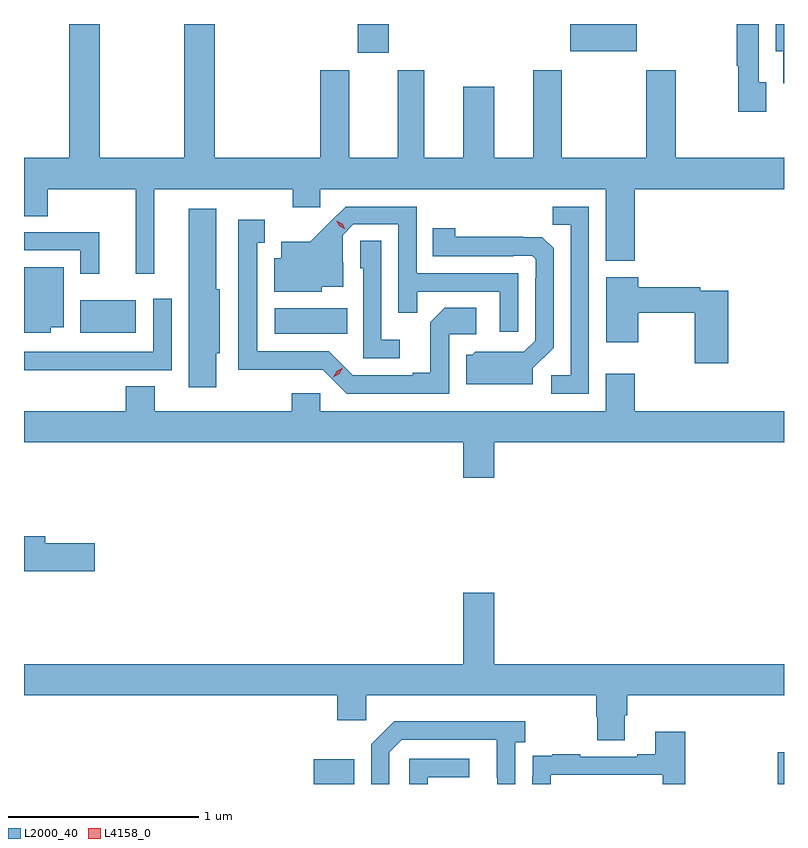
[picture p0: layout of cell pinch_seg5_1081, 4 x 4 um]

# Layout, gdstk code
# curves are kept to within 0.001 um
import gdstk
lib = gdstk.Library(unit=1e-6, precision=1e-09)
def R(c, l, rs):  # rectangles x0, y0, x1, y1
    for r in rs: c.add(gdstk.rectangle(r[:2], r[2:], *l))
def P(c, l, *ps):  # polygons
    for p in ps: c.add(gdstk.Polygon(p, *l))
L2000_40 = (2000, 40)
L4158_0 = (4158, 0)

pinch_seg5_1081 = lib.new_cell('pinch_seg5_1081')
R(pinch_seg5_1081, L2000_40, [(763.622,841.641,763.834,841.771), (766.064,841.641,766.096,841.807), (763.416,844.01,763.796,844.144), (762.392,844.016,762.685,844.186), (763.853,845.49,764.017,845.641), (764.972,845.498,765.322,845.641)])
P(pinch_seg5_1081, L2000_40, [(766.003,845.334),(765.963,845.334),(765.963,845.641),(765.847,845.641),(765.847,845.422),(765.855,845.422),(765.855,845.178),(766.003,845.178)],
  [(763.656,844.772),(765.158,844.772),(765.158,844.394),(765.311,844.394),(765.311,844.772),(766.096,844.772),(766.096,844.936),(765.525,844.936),(765.525,845.398),(765.37,845.398),(765.37,844.936),(764.925,844.936),(764.925,845.398),(764.777,845.398),(764.777,844.936),(764.572,844.936),(764.572,845.311),(764.408,845.311),(764.408,844.936),(764.203,844.936),(764.203,845.398),(764.063,845.398),(764.063,844.936),(763.807,844.936),(763.807,845.398),(763.655,845.398),(763.655,844.936),(763.1,844.936),(763.1,845.641),(762.94,845.641),(762.94,844.936),(762.495,844.936),(762.495,845.641),(762.335,845.641),(762.335,844.936),(762.096,844.936),(762.096,844.63),(762.222,844.63),(762.222,844.772),(762.683,844.772),(762.683,844.326),(762.782,844.326),(762.782,844.772),(763.51,844.772),(763.51,844.677),(763.656,844.677)],
  [(766.096,845.641),(766.052,845.641),(766.052,845.498),(766.091,845.498),(766.091,845.33),(766.096,845.33)],
  [(765.069,844.68),(764.878,844.68),(764.878,844.585),(764.973,844.585),(764.973,843.792),(764.871,843.792),(764.871,843.696),(765.069,843.696)],
  [(764.697,844.329),(764.163,844.329),(764.163,844.68),(763.79,844.68),(763.603,844.495),(763.451,844.495),(763.451,844.408),(763.412,844.408),(763.412,844.232),(763.662,844.232),(763.662,844.259),(763.777,844.259),(763.777,844.388),(763.773,844.388),(763.773,844.53),(763.83,844.587),(764.067,844.587),(764.067,844.12),(764.165,844.12),(764.165,844.233),(764.601,844.233),(764.601,844.02),(764.697,844.02)],
  [(763.108,843.909),(763.126,843.909),(763.126,844.245),(763.108,844.245),(763.108,844.669),(762.962,844.669),(762.962,843.729),(763.108,843.729)],
  [(764.334,844.008),(764.476,844.008),(764.476,844.148),(764.311,844.148),(764.235,844.072),(764.235,843.805),(764.141,843.805),(764.141,843.792),(763.827,843.792),(763.701,843.918),(763.324,843.918),(763.324,844.491),(763.363,844.491),(763.363,844.612),(763.223,844.612),(763.223,843.821),(763.668,843.822),(763.794,843.696),(764.334,843.696)],
  [(764.773,843.828),(764.883,843.938),(764.883,844.46),(764.824,844.519),(764.367,844.52),(764.367,844.567),(764.248,844.567),(764.248,844.419),(764.672,844.419),(764.672,844.422),(764.772,844.422),(764.79,844.404),(764.79,844.304),(764.787,844.304),(764.787,843.975),(764.727,843.915),(764.47,843.916),(764.454,843.9),(764.423,843.9),(764.423,843.746),(764.773,843.746)],
  [(762.491,844.545),(762.096,844.545),(762.096,844.449),(762.393,844.449),(762.393,844.326),(762.491,844.326)],
  [(764.074,843.979),(763.977,843.979),(763.977,844.499),(763.866,844.499),(763.866,844.356),(763.881,844.356),(763.881,843.882),(764.074,843.882)],
  [(762.238,844.046),(762.304,844.046),(762.304,844.36),(762.096,844.36),(762.096,844.016),(762.238,844.016)],
  [(765.803,844.236),(765.656,844.236),(765.656,844.256),(765.328,844.256),(765.328,844.309),(765.161,844.309),(765.161,843.966),(765.328,843.966),(765.328,844.12),(765.625,844.12),(765.625,843.855),(765.803,843.855)],
  [(762.548,843.819),(762.873,843.819),(762.873,844.195),(762.777,844.195),(762.777,843.915),(762.096,843.915),(762.096,843.818),(762.548,843.818)],
  [(764.572,843.44),(766.096,843.44),(766.096,843.604),(765.311,843.604),(765.311,843.799),(765.158,843.799),(765.158,843.604),(763.656,843.604),(763.656,843.697),(763.505,843.697),(763.505,843.604),(762.784,843.604),(762.784,843.734),(762.632,843.734),(762.632,843.604),(762.096,843.604),(762.096,843.44),(764.408,843.44),(764.408,843.252),(764.572,843.252)],
  [(762.469,842.909),(762.208,842.909),(762.208,842.945),(762.096,842.945),(762.096,842.762),(762.469,842.762)],
  [(765.259,842.002),(765.272,842.002),(765.272,842.108),(766.096,842.108),(766.096,842.272),(764.572,842.272),(764.572,842.647),(764.408,842.647),(764.408,842.272),(762.096,842.272),(762.096,842.108),(763.745,842.108),(763.745,841.977),(763.896,841.977),(763.896,842.108),(765.107,842.108),(765.107,841.995),(765.112,841.995),(765.112,841.87),(765.259,841.87)],
  [(764.019,841.809),(764.085,841.875),(764.585,841.875),(764.586,841.641),(764.682,841.641),(764.682,841.862),(764.734,841.862),(764.734,841.972),(764.044,841.972),(763.923,841.851),(763.923,841.641),(764.019,841.641)],
  [(764.868,841.689),(765.459,841.689),(765.459,841.641),(765.575,841.641),(765.575,841.915),(765.419,841.915),(765.419,841.798),(765.323,841.798),(765.323,841.785),(765.023,841.785),(765.023,841.798),(764.875,841.798),(764.875,841.791),(764.773,841.791),(764.773,841.682),(764.772,841.682),(764.772,841.641),(764.868,841.641)],
  [(764.22,841.677),(764.44,841.677),(764.44,841.773),(764.124,841.773),(764.124,841.641),(764.22,841.641)])
P(pinch_seg5_1081, L4158_0, [(763.787,844.561),(763.757,844.576),(763.739,844.606),(763.739,844.606),(763.74,844.606),(763.77,844.591),(763.788,844.561),(763.788,844.561)],
  [(763.723,843.781),(763.723,843.782),(763.741,843.814),(763.773,843.832),(763.773,843.832),(763.773,843.831),(763.755,843.8),(763.724,843.781)])

lib.write_gds('pinch_seg5_1081.gds')
